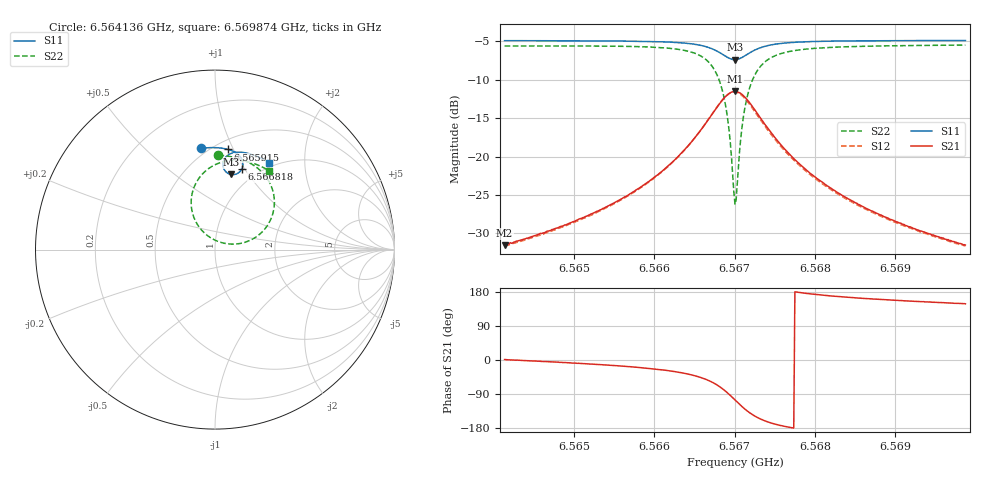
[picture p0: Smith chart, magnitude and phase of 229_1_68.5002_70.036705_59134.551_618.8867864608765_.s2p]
#  HZ  S  RI  R  50.00
! Rohde & Schwarz Vector Network Analyzer
! Rohde-Schwarz,ZNB20-2Port,1311601062101988,3.16
! Created: UTC 3/20/2024, 4:58:52 PM
! freq[Hz]  re:S11  im:S11  re:S21  im:S21  re:S12  im:S12  re:S22  im:S22
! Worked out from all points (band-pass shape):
!   401 points, 6.564136 GHz to 6.569874 GHz, reference 50 ohm
!   highest |S21| = -11.52 dB at 6.567005 GHz (marker M1); lowest = -31.6 dB at 6.564136 GHz (marker M2)
!   |S21| within 3 dB of the highest: 6.566717 GHz to 6.567291 GHz (574 kHz wide, 0.00874 % of centre)
!   lowest |S11| = -7.4 dB at 6.567005 GHz (marker M3), VSWR 2.50, Z = 40.5 + j41.6 ohm
!   |S11| at or under -10 dB: nowhere
!   |S22| runs from -26.2 to -5.5 dB; largest |S21 - S12| = 0.012
!   S11 on the Smith chart (normalised r, x): 6.564136 GHz: 0.46, +0.76; 6.565915 GHz: 0.58, +0.95; 6.566818 GHz: 0.84, +0.97; 6.569874 GHz: 0.93, +1.34
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6.5641358e9  -0.0796 0.5635  0.0264 0.000524  0.026 2.26e-05  0.0194 0.5251
6.5650969e9  -0.0019 0.5679  0.0391 -0.00638  0.0385 -0.00702  0.1081 0.5142
6.5659145e9  0.0723 0.5582  0.063 -0.0252  0.062 -0.026  0.2075 0.4748
6.566058e9  0.087 0.5537  0.07 -0.0328  0.0689 -0.0335  0.2301 0.4595
6.5663592e9  0.1206 0.5367  0.0892 -0.0612  0.0877 -0.0624  0.2858 0.4029
6.5665744e9  0.1452 0.5109  0.1027 -0.1061  0.1007 -0.1081  0.325 0.3164
6.5667178e9  0.1551 0.4799  0.099 -0.1603  0.0949 -0.1631  0.3253 0.2129
6.5668182e9  0.1498 0.4502  0.0723 -0.211  0.0657 -0.2139  0.2796 0.1173
6.5669043e9  0.129 0.4263  0.0197 -0.2503  0.0101 -0.2508  0.184 0.0469
6.566933e9  0.1183 0.421  -0.00425 -0.2578  -0.0148 -0.2571  0.1405 0.0343
6.5669904e9  0.0938 0.4179  -0.0577 -0.259  -0.0685 -0.2545  0.0457 0.0365
6.5670047e9  0.0875 0.419  -0.0709 -0.2559  -0.0815 -0.2505  0.0224 0.0434
6.5670334e9  0.0755 0.423  -0.0965 -0.2462  -0.1062 -0.2388  -0.021 0.0638
6.5670908e9  0.0565 0.4383  -0.1378 -0.2138  -0.1445 -0.204  -0.0884 0.1255
6.5671338e9  0.0478 0.4532  -0.1576 -0.1838  -0.1619 -0.1733  -0.118 0.1806
6.5671912e9  0.0439 0.4735  -0.1702 -0.1437  -0.1715 -0.1336  -0.1327 0.2521
6.5672629e9  0.0481 0.4953  -0.1699 -0.1007  -0.1686 -0.0923  -0.1239 0.3262
6.5675211e9  0.0871 0.5345  -0.1273 -0.0219  -0.1245 -0.0183  -0.0272 0.4572
6.5679658e9  0.1456 0.5426  -0.0757 0.00805  -0.0738 0.00922  0.0935 0.4972
6.5683818e9  0.1868 0.5352  -0.0526 0.0132  -0.0514 0.0138  0.1608 0.4937
6.5689269e9  0.2325 0.5198  -0.0364 0.0144  -0.0358 0.0147  0.223 0.4774
6.5698737e9  0.301 0.4852  -0.0226 0.0139  -0.0221 0.0139  0.3025 0.4387
